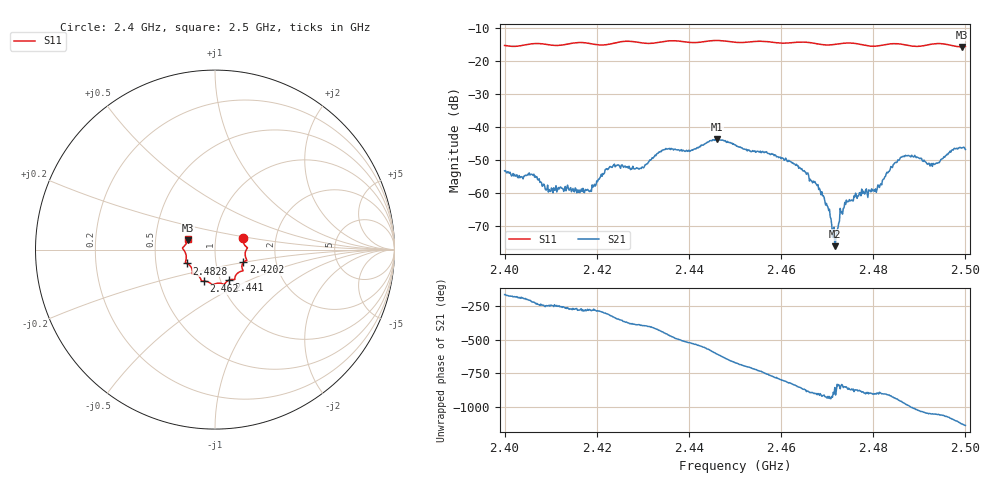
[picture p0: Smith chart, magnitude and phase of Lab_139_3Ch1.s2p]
# Hz S RI R 50
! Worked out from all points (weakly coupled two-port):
!   601 points, 2.4 GHz to 2.5 GHz, reference 50 ohm
!   highest |S21| = -43.79 dB at 2.4462 GHz (marker M1); lowest = -76.1 dB at 2.4717 GHz (marker M2)
!   lowest |S11| = -15.8 dB at 2.4993 GHz (marker M3), VSWR 1.38, Z = 36.6 + j3.84 ohm
!   |S11| at or under -10 dB: start of sweep to end of sweep
!   S12 and S22 are empty: the file has one direction only
!   S11 on the Smith chart (normalised r, x): 2.4 GHz: 1.36, +0.18; 2.4202 GHz: 1.36, -0.20; 2.441 GHz: 1.10, -0.39; 2.462 GHz: 0.84, -0.30; 2.4828 GHz: 0.72, -0.11; 2.5 GHz: 0.73, +0.09
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2.4e9  0.1575 0.0628  -0.0021 -0.000516  0 0  0 0
2.41e9  0.172 -0.00574  -0.000461 0.000949  0 0  0 0
2.416667e9  0.1778 -0.06  4.18e-05 0.00115  0 0  0 0
2.420167e9  0.1584 -0.0707  0.000398 0.00143  0 0  0 0
2.423333e9  0.1504 -0.1005  0.00205 0.00132  0 0  0 0
2.429667e9  0.1397 -0.1225  0.00197 -0.00128  0 0  0 0
2.433333e9  0.1123 -0.1509  0.00148 -0.00371  0 0  0 0
2.441e9  0.0786 -0.1697  -0.00452 -0.000573  0 0  0 0
2.446167e9  0.0506 -0.1951  -0.00237 0.00601  0 0  0 0
2.45e9  0.0285 -0.187  0.00354 0.00403  0 0  0 0
2.462e9  -0.0604 -0.1754  -0.000694 -0.00291  0 0  0 0
2.466667e9  -0.0778 -0.1682  -0.00151 -0.000157  0 0  0 0
2.469333e9  -0.0895 -0.1484  -0.000849 0.000176  0 0  0 0
2.471667e9  -0.1105 -0.1365  -0.000114 -0.000109  0 0  0 0
2.474333e9  -0.1255 -0.1351  -0.000573 -0.000465  0 0  0 0
2.480333e9  -0.1375 -0.0918  -0.00106 9.44e-05  0 0  0 0
2.482833e9  -0.1577 -0.0772  -0.00196 0.000197  0 0  0 0
2.483333e9  -0.1607 -0.076  -0.00205 0.000474  0 0  0 0
2.4865e9  -0.1632 -0.0643  -0.00131 0.00329  0 0  0 0
2.492833e9  -0.1777 0.00343  0.00221 0.00123  0 0  0 0
2.499333e9  -0.1531 0.0512  0.00328 -0.00358  0 0  0 0
2.5e9  -0.1516 0.0611  0.00242 -0.00386  0 0  0 0
